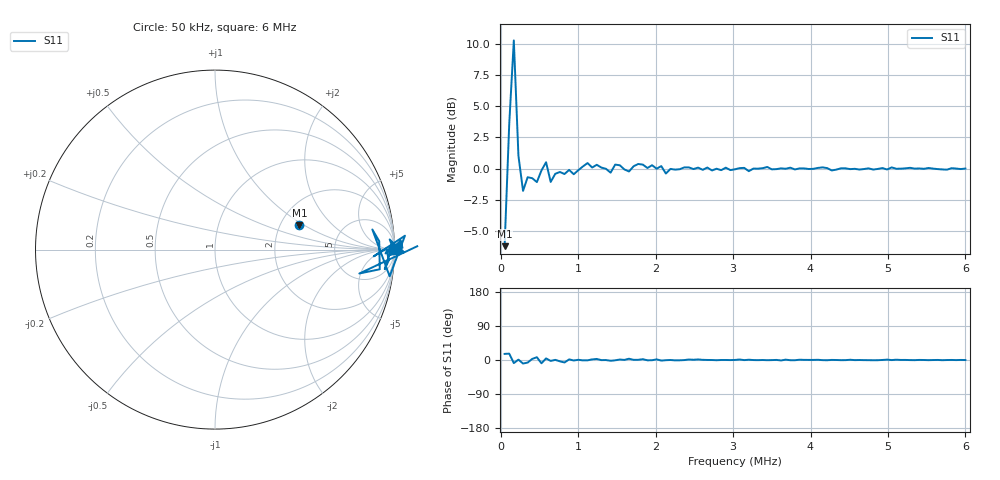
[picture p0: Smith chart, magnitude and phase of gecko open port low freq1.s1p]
! File created by NanoVNA (https://gen111.taobao.com/)
! Start 50000Hz  Stop 6000000Hz  Points 101
# HZ S MA R 50
!S - Parameter data, F S11
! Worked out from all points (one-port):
!   101 points, 50 kHz to 6 MHz, reference 50 ohm
!   lowest |S11| = -6.2 dB at 50 kHz (marker M1), VSWR 2.92, Z = 127 + j45.4 ohm
!   |S11| at or under -10 dB: nowhere
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50000  0.4898 16.1
109500  1.506 16.9
169000  3.259 -8.2
228500  1.127 1.0
288000  0.8151 -9.4
347500  0.9245 -6.8
466500  0.8838 7.3
526000  0.9843 -8.7
585500  1.061 4.2
645000  0.8852 -2.4
704500  0.9542 0.4
823500  0.9522 -6.6
883000  0.9892 1.6
942500  0.9502 -1.3
1121000  1.053 -0.8
1240000  1.037 2.8
1418500  0.9642 -2.0
1537500  1.032 1.3
1656500  0.9747 3.3
1775500  1.045 0.5
2073000  1.024 -1.5
2132500  0.9564 -0.5
2311000  0.9952 -0.8
3025000  0.9947 0.1
3798500  0.9932 -0.6
4512500  0.9963 0.6
5286000  1.008 -0.2
6000000  1.001 -0.1
